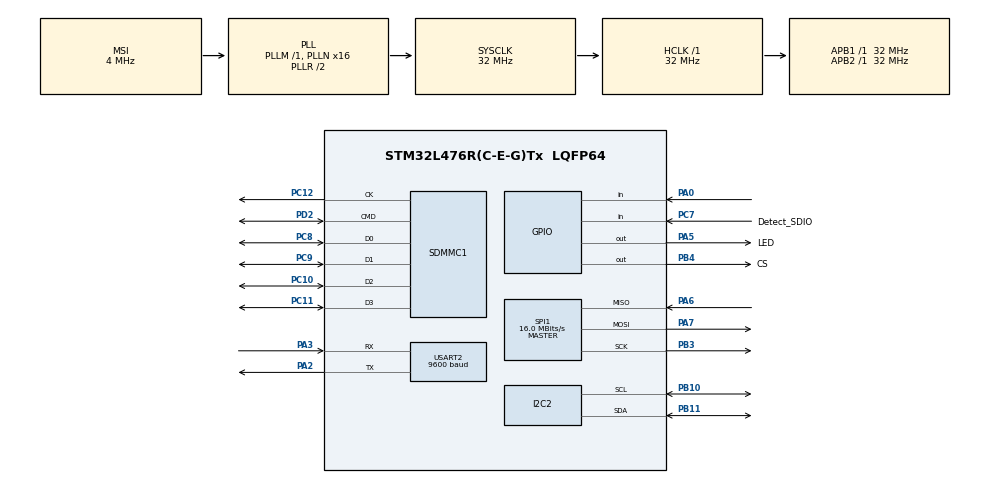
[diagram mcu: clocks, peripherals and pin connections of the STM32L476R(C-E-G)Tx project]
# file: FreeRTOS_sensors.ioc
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Dma.Request0=USART2_TX
Dma.Request1=SDMMC1_RX
Dma.Request2=SDMMC1_TX
Dma.SDMMC1_RX.1.Direction=DMA_PERIPH_TO_MEMORY
Dma.SDMMC1_RX.1.Instance=DMA2_Channel4
Dma.SDMMC1_RX.1.MemDataAlignment=DMA_MDATAALIGN_BYTE
Dma.SDMMC1_RX.1.MemInc=DMA_MINC_ENABLE
Dma.SDMMC1_RX.1.Mode=DMA_NORMAL
Dma.SDMMC1_RX.1.PeriphDataAlignment=DMA_PDATAALIGN_WORD
Dma.SDMMC1_RX.1.PeriphInc=DMA_PINC_DISABLE
Dma.SDMMC1_RX.1.Priority=DMA_PRIORITY_LOW
Dma.SDMMC1_TX.2.Direction=DMA_MEMORY_TO_PERIPH
Dma.SDMMC1_TX.2.Instance=DMA2_Channel5
Dma.SDMMC1_TX.2.MemDataAlignment=DMA_MDATAALIGN_WORD
Dma.SDMMC1_TX.2.MemInc=DMA_MINC_ENABLE
Dma.SDMMC1_TX.2.Mode=DMA_NORMAL
Dma.SDMMC1_TX.2.PeriphDataAlignment=DMA_PDATAALIGN_WORD
Dma.SDMMC1_TX.2.PeriphInc=DMA_PINC_DISABLE
Dma.SDMMC1_TX.2.Priority=DMA_PRIORITY_LOW
Dma.USART2_TX.0.Direction=DMA_MEMORY_TO_PERIPH
Dma.USART2_TX.0.Instance=DMA1_Channel7
Dma.USART2_TX.0.MemDataAlignment=DMA_MDATAALIGN_BYTE
Dma.USART2_TX.0.MemInc=DMA_MINC_ENABLE
Dma.USART2_TX.0.Mode=DMA_NORMAL
Dma.USART2_TX.0.PeriphDataAlignment=DMA_PDATAALIGN_BYTE
Dma.USART2_TX.0.PeriphInc=DMA_PINC_DISABLE
Dma.USART2_TX.0.Priority=DMA_PRIORITY_LOW
FATFS.BSP.number=1
FATFS._MAX_SS=4096
FATFS0.BSP.STBoard=false
FATFS0.BSP.api=Unknown
FATFS0.BSP.instance=PC7
FATFS0.BSP.ip=GPIO
FATFS0.BSP.mode=Input
FATFS0.BSP.name=Detect_SDIO
FATFS0.BSP.solution=PC7
FREERTOS.Mutexes01=uartMutex,Dynamic,NULL,Available
FREERTOS.Queues01=data_queue,16,data_read,0,Dynamic,NULL,NULL;sd_queue,16,data_read,0,Dynamic,NULL,NULL
FREERTOS.Tasks01=blink01,15,128,StartBlink01,Default,NULL,Dynamic,NULL,NULL;blink02,14,128,StartBlink02,Default,NULL,Dynamic,NULL,NULL;SensorRead,25,512,SensorReadTask,Default,NULL,Dynamic,NULL,NULL;DataProcess,24,512,DataProcessTask,Default,NULL,Dynamic,NULL,NULL;SD_write,24,256,SD_write_task,Default,NULL,Dynamic,NULL,NULL;status,8,256,status_task,Default,NULL,Dynamic,NULL,NULL
FREERTOS.configTOTAL_HEAP_SIZE=16384
FREERTOS.configUSE_NEWLIB_REENTRANT=1
I2C2.Timing=0x00B07CB4
Mcu.Family=STM32L4
Mcu.Name=STM32L476R(C-E-G)Tx
Mcu.Package=LQFP64
NVIC.DMA1_Channel7_IRQn=true\:5\:0\:false\:false\:true\:true\:false\:true\:true
NVIC.DMA2_Channel4_IRQn=true\:5\:0\:false\:false\:true\:true\:false\:true\:true
NVIC.DMA2_Channel5_IRQn=true\:5\:0\:false\:false\:true\:true\:false\:true\:true
NVIC.PriorityGroup=NVIC_PRIORITYGROUP_4
NVIC.SDMMC1_IRQn=true\:5\:0\:false\:false\:true\:true\:true\:true\:true
NVIC.TIM1_UP_TIM16_IRQn=true\:5\:0\:false\:false\:true\:true\:true\:true\:true
NVIC.TIM6_DAC_IRQn=true\:15\:0\:false\:false\:true\:false\:false\:true\:true
NVIC.TimeBase=TIM6_DAC_IRQn
NVIC.TimeBaseIP=TIM6
NVIC.USART2_IRQn=true\:5\:0\:false\:false\:true\:true\:true\:true\:true
PA0.Signal=GPIO_Input
PA2.Mode=Asynchronous
PA2.Signal=USART2_TX
PA3.Mode=Asynchronous
PA3.Signal=USART2_RX
PA5.GPIO_Label=LED
PA5.Signal=GPIO_Output
PA6.Mode=Full_Duplex_Master
PA6.Signal=SPI1_MISO
PA7.Mode=Full_Duplex_Master
PA7.Signal=SPI1_MOSI
PB10.Mode=I2C
PB10.Signal=I2C2_SCL
PB11.Mode=I2C
PB11.Signal=I2C2_SDA
PB3\ (JTDO-TRACESWO).Mode=Full_Duplex_Master
PB3\ (JTDO-TRACESWO).Signal=SPI1_SCK
PB4\ (NJTRST).GPIO_Label=CS
PB4\ (NJTRST).Signal=GPIO_Output
PC10.Mode=SD_4_bits_Wide_bus
PC10.Signal=SDMMC1_D2
PC11.Mode=SD_4_bits_Wide_bus
PC11.Signal=SDMMC1_D3
PC12.Mode=SD_4_bits_Wide_bus
PC12.Signal=SDMMC1_CK
PC7.GPIO_Label=Detect_SDIO
PC7.Signal=GPIO_Input
PC8.Mode=SD_4_bits_Wide_bus
PC8.Signal=SDMMC1_D0
PC9.Mode=SD_4_bits_Wide_bus
PC9.Signal=SDMMC1_D1
PD2.Mode=SD_4_bits_Wide_bus
PD2.Signal=SDMMC1_CMD
ProjectManager.HeapSize=0x200
ProjectManager.StackSize=0x400
ProjectManager.TargetToolchain=STM32CubeIDE
RCC.ADCFreq_Value=32000000
RCC.AHBFreq_Value=32000000
RCC.APB1Freq_Value=32000000
RCC.APB1TimFreq_Value=32000000
RCC.APB2Freq_Value=32000000
RCC.APB2TimFreq_Value=32000000
RCC.CortexFreq_Value=32000000
RCC.HCLKFreq_Value=32000000
RCC.HSE_VALUE=8000000
RCC.HSI_VALUE=16000000
RCC.LSE_VALUE=32768
RCC.MSI_VALUE=4000000
RCC.PLLN=16
RCC.PLLSAI1N=16
RCC.SYSCLKFreq_VALUE=32000000
RCC.SYSCLKSource=RCC_SYSCLKSOURCE_PLLCLK
RCC.USBFreq_Value=32000000
RCC.VCOOutputFreq_Value=64000000
SPI1.CalculateBaudRate=16.0 MBits/s
SPI1.Direction=SPI_DIRECTION_2LINES
SPI1.Mode=SPI_MODE_MASTER
SPI1.VirtualType=VM_MASTER
TIM1.Period=2000-1
TIM1.Prescaler=60000-1
TIM1.TIM_MasterOutputTrigger=TIM_TRGO_UPDATE
TIM7.Prescaler=60-1
USART2.BaudRate=9600
USART2.VirtualMode-Asynchronous=VM_ASYNC
VP_CRC_VS_CRC.Mode=CRC_Activate
VP_FATFS_VS_SDIO.Mode=SDIO
VP_FREERTOS_VS_CMSIS_V2.Mode=CMSIS_V2
VP_SYS_VS_tim6.Mode=TIM6
VP_TIM1_VS_ClockSourceINT.Mode=Internal
VP_TIM7_VS_ClockSourceINT.Mode=Enable_Timer
board=custom

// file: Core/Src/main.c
/* USER CODE BEGIN Header */
/**
  ******************************************************************************
  * @file           : main.c
  * @brief          : Main program body
  ******************************************************************************
  * @attention
  *
  * Copyright (c) 2026 STMicroelectronics.
  * All rights reserved.
  *
  * This software is licensed under terms that can be found in the LICENSE file
  * in the root directory of this software component.
  * If no LICENSE file comes with this software, it is provided AS-IS.
  *
  ******************************************************************************
  */
/* USER CODE END Header */
#include "main.h"
#include "cmsis_os.h"
#include "crc.h"
#include "dma.h"
#include "fatfs.h"
#include "i2c.h"
#include "sdmmc.h"
#include "spi.h"
#include "tim.h"
#include "usart.h"
#include "gpio.h"

/* USER CODE BEGIN Includes */
#include "i2c.h"
#include "UART_print.h"
#include "mpu.h"
/* USER CODE END Includes */

void SystemClock_Config(void);
void MX_FREERTOS_Init(void);

int main(void)
{

  /* MCU Configuration--------------------------------------------------------*/

  /* Reset of all peripherals, Initializes the Flash interface and the Systick. */
  HAL_Init();

  /* Configure the system clock */
  SystemClock_Config();

  /* USER CODE BEGIN SysInit */
  __HAL_RCC_I2C2_FORCE_RESET();
  __HAL_RCC_I2C2_RELEASE_RESET();
  //MX_I2C2_Init();
  /* USER CODE END SysInit */

  /* Initialize all configured peripherals */
  MX_GPIO_Init();
  MX_DMA_Init();
  MX_SPI1_Init();
  MX_TIM1_Init();
  MX_TIM7_Init();
  MX_USART2_UART_Init();
  MX_I2C2_Init();
  MX_SDMMC1_SD_Init();
  MX_FATFS_Init();
  MX_CRC_Init();
  /* USER CODE BEGIN 2 */

  UART_print_blocking("Program Start\n");
  UART_print_blocking("Type STOP then Enter to stop logging safely\r\n");
  uart_start_rx_it();
  mpu_init();

  /* USER CODE END 2 */

  /* Init scheduler */
  osKernelInitialize();  /* Call init function for freertos objects (in cmsis_os2.c) */
  MX_FREERTOS_Init();

  /* Start scheduler */
  osKernelStart();

  /* We should never get here as control is now taken by the scheduler */

  /* Infinite loop */
  while (1)
  {

  }
}

void SystemClock_Config(void)
{
  RCC_OscInitTypeDef RCC_OscInitStruct = {0};
  RCC_ClkInitTypeDef RCC_ClkInitStruct = {0};

  /** Configure the main internal regulator output voltage
  */
  if (HAL_PWREx_ControlVoltageScaling(PWR_REGULATOR_VOLTAGE_SCALE1) != HAL_OK)
  {
    Error_Handler();
  }

  /** Initializes the RCC Oscillators according to the specified parameters
  * in the RCC_OscInitTypeDef structure.
  */
  RCC_OscInitStruct.OscillatorType = RCC_OSCILLATORTYPE_MSI;
  RCC_OscInitStruct.MSIState = RCC_MSI_ON;
  RCC_OscInitStruct.MSICalibrationValue = 0;
  RCC_OscInitStruct.MSIClockRange = RCC_MSIRANGE_6;
  RCC_OscInitStruct.PLL.PLLState = RCC_PLL_ON;
  RCC_OscInitStruct.PLL.PLLSource = RCC_PLLSOURCE_MSI;
  RCC_OscInitStruct.PLL.PLLM = 1;
  RCC_OscInitStruct.PLL.PLLN = 16;
  RCC_OscInitStruct.PLL.PLLP = RCC_PLLP_DIV7;
  RCC_OscInitStruct.PLL.PLLQ = RCC_PLLQ_DIV2;
  RCC_OscInitStruct.PLL.PLLR = RCC_PLLR_DIV2;
  if (HAL_RCC_OscConfig(&RCC_OscInitStruct) != HAL_OK)
  {
    Error_Handler();
  }

  /** Initializes the CPU, AHB and APB buses clocks
  */
  RCC_ClkInitStruct.ClockType = RCC_CLOCKTYPE_HCLK|RCC_CLOCKTYPE_SYSCLK
                              |RCC_CLOCKTYPE_PCLK1|RCC_CLOCKTYPE_PCLK2;
  RCC_ClkInitStruct.SYSCLKSource = RCC_SYSCLKSOURCE_PLLCLK;
  RCC_ClkInitStruct.AHBCLKDivider = RCC_SYSCLK_DIV1;
  RCC_ClkInitStruct.APB1CLKDivider = RCC_HCLK_DIV1;
  RCC_ClkInitStruct.APB2CLKDivider = RCC_HCLK_DIV1;

  if (HAL_RCC_ClockConfig(&RCC_ClkInitStruct, FLASH_LATENCY_1) != HAL_OK)
  {
    Error_Handler();
  }
}

void HAL_TIM_PeriodElapsedCallback(TIM_HandleTypeDef *htim)
{
  if (htim->Instance == TIM6)
  {
    HAL_IncTick();
  }
}

void Error_Handler(void)
{
  __disable_irq();
  while (1)
  {
  }
}

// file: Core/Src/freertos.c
/* USER CODE BEGIN Header */
/**
  ******************************************************************************
  * File Name          : freertos.c
  * Description        : Code for freertos applications
  ******************************************************************************
  * @attention
  *
  * Copyright (c) 2026 STMicroelectronics.
  * All rights reserved.
  *
  * This software is licensed under terms that can be found in the LICENSE file
  * in the root directory of this software component.
  * If no LICENSE file comes with this software, it is provided AS-IS.
  *
  ******************************************************************************
  */
/* USER CODE END Header */

#include "FreeRTOS.h"
#include "task.h"
#include "main.h"
#include "cmsis_os.h"

/* USER CODE BEGIN Includes */
#include <stdio.h>
#include "UART_print.h"
#include "mpu.h"
#include <string.h>
#include "fatfs.h"
#include "usart.h"
#include "crc.h"
/* USER CODE END Includes */

/* USER CODE BEGIN PTD */
typedef struct __attribute__((packed)) {
  uint32_t t_ms;
  int16_t ax, ay, az;
  int16_t gx, gy, gz;
} data_read;

#define chunk_bytes 4096
#define SD_QUEUE_TIMEOUT 1000
#define max_samples (chunk_bytes/(sizeof(data_read)))
uint32_t sd_chunk_len = 0;

__attribute__((aligned(4))) uint8_t sd_chunk[chunk_bytes]; //forces it to be on 4 but boundaries

osStatus_t st;
osStatus_t st_sd;

TickType_t period = pdMS_TO_TICKS(5);
TickType_t b1 = pdMS_TO_TICKS(500);
TickType_t b2 = pdMS_TO_TICKS(600);

int16_t ax, ay, az;
int16_t gx, gy, gz;

HAL_StatusTypeDef debugger_gyro;
HAL_StatusTypeDef debugger_acc;

extern I2C_HandleTypeDef hi2c2;

HAL_I2C_StateTypeDef i2c_st;
uint32_t err;
uint32_t isr;

extern uint8_t retSD;    /* Return value for SD */
extern char SDPath[4];   /* SD logical drive path */
extern FATFS SDFatFS;    /* File system object for SD logical drive */
extern FIL SDFile;       /* File object for SD */

FRESULT res;
uint32_t byteswritten, bytesread;

char* filename = "log.bin";

uint32_t g_produced = 0;
uint32_t g_dropped  = 0;
uint32_t g_max_qdepth = 0;

uint32_t g_data_dropped = 0;

extern CRC_HandleTypeDef hcrc;

/* USER CODE END PTD */

/* Definitions for blink01 */
osThreadId_t blink01Handle;
const osThreadAttr_t blink01_attributes = {
  .name = "blink01",
  .stack_size = 128 * 4,
  .priority = (osPriority_t) osPriorityLow7,
};
/* Definitions for blink02 */
osThreadId_t blink02Handle;
const osThreadAttr_t blink02_attributes = {
  .name = "blink02",
  .stack_size = 128 * 4,
  .priority = (osPriority_t) osPriorityLow6,
};
/* Definitions for SensorRead */
osThreadId_t SensorReadHandle;
const osThreadAttr_t SensorRead_attributes = {
  .name = "SensorRead",
  .stack_size = 512 * 4,
  .priority = (osPriority_t) osPriorityNormal1,
};
/* Definitions for DataProcess */
osThreadId_t DataProcessHandle;
const osThreadAttr_t DataProcess_attributes = {
  .name = "DataProcess",
  .stack_size = 512 * 4,
  .priority = (osPriority_t) osPriorityNormal,
};
/* Definitions for SD_write */
osThreadId_t SD_writeHandle;
const osThreadAttr_t SD_write_attributes = {
  .name = "SD_write",
  .stack_size = 256 * 4,
  .priority = (osPriority_t) osPriorityNormal,
};
/* Definitions for status */
osThreadId_t statusHandle;
const osThreadAttr_t status_attributes = {
  .name = "status",
  .stack_size = 256 * 4,
  .priority = (osPriority_t) osPriorityLow,
};
/* Definitions for data_queue */
osMessageQueueId_t data_queueHandle;
const osMessageQueueAttr_t data_queue_attributes = {
  .name = "data_queue"
};
/* Definitions for sd_queue */
osMessageQueueId_t sd_queueHandle;
const osMessageQueueAttr_t sd_queue_attributes = {
  .name = "sd_queue"
};
/* Definitions for uartMutex */
osMutexId_t uartMutexHandle;
const osMutexAttr_t uartMutex_attributes = {
  .name = "uartMutex"
};

/* USER CODE BEGIN FunctionPrototypes */

void sd_chunk_append_record(const data_read *rec)
{
  const uint32_t rec_sz = sizeof(*rec);
  memcpy(&sd_chunk[sd_chunk_len], rec, rec_sz);
  sd_chunk_len += rec_sz;
}

uint32_t calc_pad_length(uint32_t length){
	return ((4 - (length & 3)) & 3);
}

uint32_t calculate_crc32(uint8_t *data, uint32_t length_bytes){
	//__HAL_CRC_DR_RESET(&hcrc);

	uint32_t crc = HAL_CRC_Calculate(&hcrc, (uint32_t *)data, length_bytes);

	return crc;
}

FRESULT sd_flush_chunk(void)
{
  if (sd_chunk_len == 0) return FR_OK;

  UINT bw = 0;
  FRESULT r = f_write(&SDFile, sd_chunk, sd_chunk_len, &bw);

  if ((r != FR_OK) || (bw != sd_chunk_len)) {
    print_thread("SD flush failed: data\r\n");
    return (r != FR_OK) ? r : FR_INT_ERR;
  }

  //uint32_t pad_length = calc_pad_length(sd_chunk_len); HAL handles padding itself

//  for (int i = 0; i < pad_length; i++) {
//	  sd_chunk[sd_chunk_len + i] = 0;
//  }
  //pad_length = (sd_chunk_len + pad_length); //length in bytes because byte mode
  //uint32_t crc = calculate_crc32(sd_chunk, pad_length);

  uint32_t crc = calculate_crc32(sd_chunk, sd_chunk_len);

  uint8_t validation_arr[8];
  memcpy(&validation_arr[0], &crc, 4);
  memcpy(&validation_arr[4], &sd_chunk_len, 4);

  //writes crc and original length (python can calculate amount of padded bits and act accordingly)

  r = f_write (&SDFile, validation_arr, 8, &bw);

  if ((r != FR_OK) || (bw != 8)) {
	  print_thread("SD flush failed: crc\r\n");
	  return (r != FR_OK) ? r : FR_INT_ERR;
  }

  sd_chunk_len = 0;
  //memset(&sd_chunk[sd_chunk_len], 0, chunk_bytes);

  // f_sync(&SDFile); //force metadata update more often (slower but safer)

  return FR_OK;
}

/* USER CODE END FunctionPrototypes */

void StartBlink01(void *argument);
void StartBlink02(void *argument);
void SensorReadTask(void *argument);
void DataProcessTask(void *argument);
void SD_write_task(void *argument);
void status_task(void *argument);

void MX_FREERTOS_Init(void); /* (MISRA C 2004 rule 8.1) */

void MX_FREERTOS_Init(void) {
  /* Create the mutex(es) */
  /* creation of uartMutex */
  uartMutexHandle = osMutexNew(&uartMutex_attributes);

  /* Create the queue(s) */
  /* creation of data_queue */
  data_queueHandle = osMessageQueueNew (16, sizeof(data_read), &data_queue_attributes);

  /* creation of sd_queue */
  sd_queueHandle = osMessageQueueNew (16, sizeof(data_read), &sd_queue_attributes);

  /* Create the thread(s) */
  /* creation of blink01 */
  blink01Handle = osThreadNew(StartBlink01, NULL, &blink01_attributes);

  /* creation of blink02 */
  blink02Handle = osThreadNew(StartBlink02, NULL, &blink02_attributes);

  /* creation of SensorRead */
  SensorReadHandle = osThreadNew(SensorReadTask, NULL, &SensorRead_attributes);

  /* creation of DataProcess */
  DataProcessHandle = osThreadNew(DataProcessTask, NULL, &DataProcess_attributes);

  /* creation of SD_write */
  SD_writeHandle = osThreadNew(SD_write_task, NULL, &SD_write_attributes);

  /* creation of status */
  statusHandle = osThreadNew(status_task, NULL, &status_attributes);

}

void StartBlink01(void *argument)
{
  /* USER CODE BEGIN StartBlink01 */
  /* Infinite loop */
	TickType_t lastWakeTime = xTaskGetTickCount();
  for(;;)
  {
	HAL_GPIO_TogglePin(LED_GPIO_Port, LED_Pin);
	vTaskDelayUntil(&lastWakeTime, b1);
  }
  osThreadTerminate(NULL);
  /* USER CODE END StartBlink01 */
}

void StartBlink02(void *argument)
{
  /* USER CODE BEGIN StartBlink02 */
  /* Infinite loop */
	TickType_t lastWakeTime = xTaskGetTickCount();
  for(;;)
  {
	HAL_GPIO_TogglePin(LED_GPIO_Port, LED_Pin);
    //osDelay(600);
	vTaskDelayUntil(&lastWakeTime, b2);
  }
  osThreadTerminate(NULL);
  /* USER CODE END StartBlink02 */
}

void SensorReadTask(void *argument)
{
  /* USER CODE BEGIN SensorReadTask */
	uint32_t t = 0;
	TickType_t lastWakeTime = xTaskGetTickCount();
  /* Infinite loop */
  for(;;)
  {
	  //dont need mutex since only i2c transaction
	  data_read s;
	  s.t_ms = osKernelGetTickCount();   // RTOS tick count in ms if tick=1ms
	  /* Debugging
	  i2c_st = HAL_I2C_GetState(&hi2c2);
	  err = HAL_I2C_GetError(&hi2c2);
	  isr = hi2c2.Instance->ISR;
	  */
	  debugger_acc = mpu_read_acc(&ax, &ay, &az);
	  s.ax = ax;
	  s.ay = ay;
	  s.az = az;

	  debugger_gyro = mpu_read_gyro(&gx, &gy, &gz);
	  s.gx = gx;
	  s.gy = gy;
	  s.gz = gz;

	  st_sd = osMessageQueuePut(sd_queueHandle, &s, 0, 0);
	  st = osMessageQueuePut(data_queueHandle, &s, 0, 0);

//	  if (st == osOK) {
//	    g_produced++;
//
//	    uint32_t depth = osMessageQueueGetCount(data_queueHandle);
//	    if (depth > g_max_qdepth) g_max_qdepth = depth;
//
//	  } else {
//	    // error -> count as dropped
//	    g_dropped++;
//	  }
	  if (st != osOK) g_data_dropped++;

	  if (st_sd == osOK) {
	    g_produced++;
	    uint32_t depth = osMessageQueueGetCount(sd_queueHandle);
	    if (depth > g_max_qdepth) g_max_qdepth = depth;

	  }
	  else {
	    g_dropped++;
	  }

	  t++;
	  //osDelay(5); // 200 Hz-ishosDelay(1);
	  vTaskDelayUntil(&lastWakeTime, period);
  }
  osThreadTerminate(NULL);
  /* USER CODE END SensorReadTask */
}

void DataProcessTask(void *argument)
{
  /* USER CODE BEGIN DataProcessTask */
  /* Infinite loop */
	data_read s;
	uint32_t count = 0;
  for(;;)
  {
	  if (osMessageQueueGet(data_queueHandle, &s, NULL, osWaitForever) == osOK)
	  {
		count++;
		if ((count % 200) == 0)
		{
			char msg[64];
			snprintf(msg, sizeof(msg), "t=%lu ax=%d az=%d\r\n", (unsigned long)s.t_ms, s.ax, s.az);

		  print_thread(msg);
		}
	  }
  }
  osThreadTerminate(NULL);
  /* USER CODE END DataProcessTask */
}

void SD_write_task(void *argument)
{
  /* USER CODE BEGIN SD_write_task */
	TickType_t lastWakeTime = xTaskGetTickCount();
	uint8_t wtext[] = "Hello World\n";
	uint8_t rtext[100];

	//mount SD card
	if (f_mount(&SDFatFS, (TCHAR const*)SDPath, 0) != FR_OK) {
	  //Error
	  print_thread("Error Mounting SD card\n");
	}
	else {
	  print_thread("SD card mounted successfully\n");
	}

	vTaskDelayUntil(&lastWakeTime, b2);

	//open file for writing
	if (f_open(&SDFile, filename, FA_CREATE_ALWAYS | FA_WRITE) != FR_OK){
		print_thread("Error opening file\n");
	}
	else {
		print_thread("File opened successfully\n");

		//write data to file to test
		res = f_write(&SDFile, wtext, strlen((char*)wtext), (void *)&byteswritten);
		if (byteswritten == 0 || (res != FR_OK)){
			print_thread("Failed to write file\n");
		}
		else {
			char msg[256];
			snprintf(msg, sizeof(msg), "Write content: %s\n", wtext);

			print_thread(msg);
		}
		f_close(&SDFile);
	}
	//remove Hello World Test when logging, just to ensure proper wiring

	//test read file
	f_open(&SDFile, filename, FA_READ);
	memset(rtext, 0, sizeof(rtext));
	res = f_read(&SDFile, rtext, sizeof(rtext), (UINT*)&bytesread);

	if (bytesread== 0 || (res != FR_OK)){
		print_thread("Failed to read file\n");
	}
	else {
		char msg[256];
		snprintf(msg, sizeof(msg), "Read content: %s\n", (char *)rtext);
		print_thread(msg);
	}
	f_close(&SDFile);

	if (f_open(&SDFile, filename, FA_OPEN_ALWAYS | FA_WRITE) != FR_OK) {
	print_thread("Error opening file for append/logging\n");
	vTaskDelete(NULL);
  }

	f_lseek(&SDFile, f_size(&SDFile));
	print_thread("SD file opened (append)\r\n");

	data_read s;
	const uint32_t rec_sz = sizeof(s);

	TickType_t last_flush = xTaskGetTickCount();
	const TickType_t flush_period = pdMS_TO_TICKS(1000);
  /* Infinite loop */
  for(;;)
  {
	  osStatus_t ok = osMessageQueueGet(sd_queueHandle, &s, NULL, SD_QUEUE_TIMEOUT);

	  if (ok == osOK)
	  {
		if (sd_chunk_len + rec_sz > chunk_bytes) { //too big
		  if (sd_flush_chunk() != FR_OK) {
			// no more writting
		  }
		  last_flush = xTaskGetTickCount();
		}

		sd_chunk_append_record(&s);
	  }

	  // Periodic flush
	  if ((xTaskGetTickCount() - last_flush) >= flush_period) {
		(void)sd_flush_chunk();
		(void)f_sync(&SDFile);   // ensures data is committed periodically (slower but safer)
		last_flush = xTaskGetTickCount();
	  }

	  if (g_stop_req) {
	      print_thread("[LOG] STOP received, draining queue...\r\n");

	      // Drain remaining items quickly (non-blocking)
	      while (osMessageQueueGet(sd_queueHandle, &s, NULL, 0) == osOK) {
	        if (sd_chunk_len + rec_sz > chunk_bytes) {
	          if (sd_flush_chunk() != FR_OK) break;
	        }
	        sd_chunk_append_record(&s);
	      }

	      print_thread("[LOG] Flushing chunk...\r\n");
	      (void)sd_flush_chunk();
	      (void)f_sync(&SDFile);

	      print_thread("[LOG] Closing file...\r\n");
	      f_close(&SDFile);

	      print_thread("[LOG] Unmounting...\r\n");
	      f_mount(NULL, (TCHAR const*)SDPath, 0);

	      print_thread("[LOG] SAFE TO REMOVE / SWITCH FIRMWARE\r\n");

	      vTaskSuspend(NULL);
	    }
  }
  osThreadTerminate(NULL);
  /* USER CODE END SD_write_task */
}

void status_task(void *argument)
{
  /* USER CODE BEGIN status_task */
  /* Infinite loop */
	const TickType_t one_sec = pdMS_TO_TICKS(1000);
	TickType_t lastWake = xTaskGetTickCount();

	uint32_t prev_prod = 0;
	uint32_t prev_drop = 0;

	uint32_t prev_data_drop = 0;

  for(;;)
  {
	  taskENTER_CRITICAL();
	  uint32_t prod = g_produced;
	  uint32_t drop = g_dropped;
	  uint32_t maxd = g_max_qdepth;
	  uint32_t data_drop = g_data_dropped;
	  taskEXIT_CRITICAL();

	  uint32_t rate = prod - prev_prod;     // samples/sec produced
	  uint32_t dps  = drop - prev_drop;     // drops/sec

	  uint32_t data_dps = data_drop - prev_data_drop;

	  prev_prod = prod;
	  prev_drop = drop;
	  prev_data_drop = data_drop;

	  uint32_t qd_count = osMessageQueueGetCount(data_queueHandle);
	  uint32_t qd_cap   = osMessageQueueGetCapacity(data_queueHandle);

	  uint32_t qs_count = osMessageQueueGetCount(sd_queueHandle);
	  uint32_t qs_cap   = osMessageQueueGetCapacity(sd_queueHandle);

	  size_t heap_free = xPortGetFreeHeapSize();

	  UBaseType_t sw_sensor  = uxTaskGetStackHighWaterMark((TaskHandle_t)SensorReadHandle);
	  UBaseType_t sw_proc    = uxTaskGetStackHighWaterMark((TaskHandle_t)DataProcessHandle);
	  UBaseType_t sw_sd      = uxTaskGetStackHighWaterMark((TaskHandle_t)SD_writeHandle);
	  UBaseType_t sw_status  = uxTaskGetStackHighWaterMark((TaskHandle_t)statusHandle);

	  char msg[256];
//	  snprintf(msg, sizeof(msg),
//		"[STAT] rate=%lu/s drops=%lu/s  q=%lu/%lu (max=%lu)  heap_free=%u  stack_wm(w): SR=%lu DP=%lu SD=%lu ST=%lu\r\n",
//		(unsigned long)rate,
//		(unsigned long)dps,
//		(unsigned long)q_count,
//		(unsigned long)q_cap,
//		(unsigned long)maxd,
//		(unsigned)heap_free,
//		(unsigned long)sw_sensor,
//		(unsigned long)sw_proc,
//		(unsigned long)sw_sd,
//		(unsigned long)sw_status
//	  );
	  snprintf(msg, sizeof(msg),
	    "[STAT] rate=%lu/s  sdDrops=%lu/s  dataDrops=%lu/s  "
	    "dataQ=%lu/%lu  sdQ=%lu/%lu (sdQmax=%lu)  "
	    "heap_free=%u  stack_wm(w): SR=%lu DP=%lu SD=%lu ST=%lu\r\n",

	    (unsigned long)rate,
	    (unsigned long)dps,
	    (unsigned long)data_dps,

	    (unsigned long)qd_count,
	    (unsigned long)qd_cap,

	    (unsigned long)qs_count,
	    (unsigned long)qs_cap,
	    (unsigned long)maxd,

	    (unsigned)heap_free,

	    (unsigned long)sw_sensor,
	    (unsigned long)sw_proc,
	    (unsigned long)sw_sd,
	    (unsigned long)sw_status
	  );

	  print_thread(msg);

	  vTaskDelayUntil(&lastWake, one_sec);
}
  osThreadTerminate(NULL);
  /* USER CODE END status_task */
}
